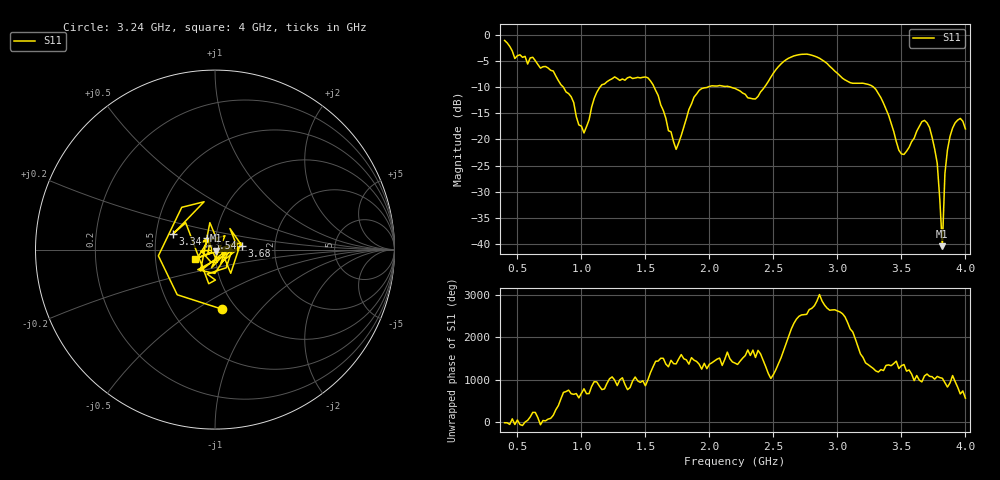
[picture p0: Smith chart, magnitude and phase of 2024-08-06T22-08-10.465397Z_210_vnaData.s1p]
!Created with skrf (http://scikit-rf.org).
# Hz S RI R 50.0
!freq ReS11 ImS11
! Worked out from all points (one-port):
!   181 points, 400 MHz to 4 GHz, reference 50 ohm
!   lowest |S11| = -40.4 dB at 3.82 GHz (marker M1), VSWR 1.02, Z = 50.7 - j0.686 ohm
!   |S11| at or under -10 dB: 857.3 MHz to 1.147 GHz (289.2 MHz wide, 28.9 % of centre); 1.568 GHz to 1.99 GHz (422.8 MHz wide, 23.8 % of centre); 3.281 GHz to end of sweep (the widest 3 of 4)
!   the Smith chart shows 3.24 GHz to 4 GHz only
!   S11 on the Smith chart (normalised r, x): 3.24 GHz: 0.86, -0.64; 3.34 GHz: 0.61, +0.11; 3.54 GHz: 0.91, +0.12; 3.68 GHz: 1.35, +0.06; 4 GHz: 0.79, -0.09
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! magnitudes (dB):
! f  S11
! 400 MHz  -1.1
! 480 MHz  -4.6
! 620 MHz  -4.3
! 860 MHz  -10.1
! 1.02 GHz  -18.8
! 1.14 GHz  -10.2
! 1.3 GHz  -8.8
! 1.52 GHz  -8.3
! 1.74 GHz  -21.9
! 1.76 GHz  -20.7
! 1.92 GHz  -10.7
! 2.2 GHz  -10.3
! 2.36 GHz  -12.3
! 2.66 GHz  -4.1
! 3.1 GHz  -9.2
! 3.24 GHz  -9.5
! 3.34 GHz  -12.1
! 3.48 GHz  -22.1
! 3.54 GHz  -22.3
! 3.56 GHz  -21.5
! 3.68 GHz  -16.4
! 3.72 GHz  -17.7
! 3.78 GHz  -24.6
! 3.82 GHz  -40.4
! 3.84 GHz  -26.5
! 3.88 GHz  -19.4
! 3.96 GHz  -16.0
! 4 GHz  -18.0
